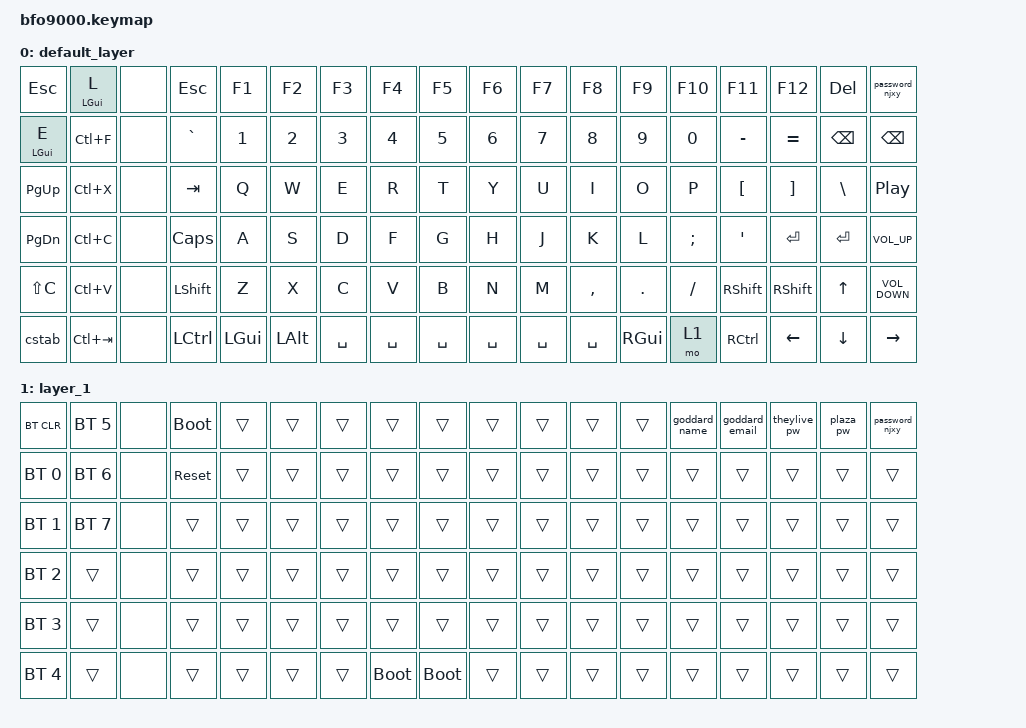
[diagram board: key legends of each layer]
/*
 * Copyright (c) 2020 The ZMK Contributors
 *
 * SPDX-License-Identifier: MIT
 */

#include <behaviors.dtsi>
#include <dt-bindings/zmk/keys.h>
#include <dt-bindings/zmk/bt.h>
#include <dt-bindings/zmk/consumer.h>

/ {

    macros {
        cstab: cstab {
            compatible = "zmk,behavior-macro";
            #binding-cells = <0>;
            wait-ms = <30>;
            tap-ms = <30>;
            bindings
                = <&macro_press &kp LCTRL>
                , <&macro_press &kp LSHIFT>
                , <&macro_tap &kp TAB>
                , <&macro_release &kp LSHIFT>
                , <&macro_release &kp LCTRL>
                ;
        };

        password_njxy: password_njxy {
            compatible = "zmk,behavior-macro";
            #binding-cells = <0>;
            wait-ms = <80>;
            tap-ms = <80>;
            bindings = <&macro_tap &str "NjXYv2Snr9pV-EX">;
        };

        goddard_name: goddard_name {
            compatible = "zmk,behavior-macro";
            #binding-cells = <0>;
            wait-ms = <80>;
            tap-ms = <80>;
            bindings = <&macro_tap &str "Goddard Technologies, Inc">;
        };

        goddard_email: goddard_email {
            compatible = "zmk,behavior-macro";
            #binding-cells = <0>;
            wait-ms = <80>;
            tap-ms = <80>;
            bindings = <&macro_tap &str "aredler@goddardtech.com">;
        };

        theylive_pw: theylive_pw {
            compatible = "zmk,behavior-macro";
            #binding-cells = <0>;
            wait-ms = <80>;
            tap-ms = <80>;
            bindings = <&macro_tap &str "TheyLive5817">;
        };

        plaza_pw: plaza_pw {
            compatible = "zmk,behavior-macro";
            #binding-cells = <0>;
            wait-ms = <80>;
            tap-ms = <80>;
            bindings = <&macro_tap &str "Plazataxco888">;
        };
    };

    keymap {
        compatible = "zmk,keymap";

        default_layer {
            bindings = <
                &kp ESC               &mt LGUI L      &none      &kp ESC              &kp F1      &kp F2      &kp F3      &kp F4      &kp F5      &kp F6      &kp F7      &kp F8      &kp F9      &kp F10     &kp F11       &kp F12       &kp DEL        &password_njxy

                &mt LGUI E            &kp LC(F)       &none      &kp GRAVE            &kp N1      &kp N2      &kp N3      &kp N4      &kp N5      &kp N6      &kp N7      &kp N8      &kp N9      &kp N0      &kp MINUS     &kp EQUAL     &kp BSPC       &kp BSPC

                &kp PG_UP             &kp LC(X)       &none      &kp TAB              &kp Q       &kp W       &kp E       &kp R       &kp T       &kp Y       &kp U       &kp I       &kp O       &kp P       &kp LBKT      &kp RBKT      &kp BSLH       &kp C_PLAY_PAUSE

                &kp PG_DN             &kp LC(C)       &none      &kp CAPS             &kp A       &kp S       &kp D       &kp F       &kp G       &kp H       &kp J       &kp K       &kp L       &kp SEMI    &kp APOS      &kp ENTER     &kp ENTER      &kp C_VOLUME_UP

                &kp LS(C)             &kp LC(V)       &none      &kp LSHIFT           &kp Z       &kp X       &kp C       &kp V       &kp B       &kp N       &kp M       &kp COMMA   &kp DOT     &kp SLASH   &kp RSHIFT    &kp RSHIFT    &kp UP         &kp C_VOLUME_DOWN

                &cstab                &kp LC(TAB)     &none      &kp LCTRL            &kp LGUI    &kp LALT    &kp SPACE   &kp SPACE   &kp SPACE   &kp SPACE   &kp SPACE   &kp SPACE   &kp RGUI    &mo 1       &kp RCTRL     &kp LEFT      &kp DOWN       &kp RIGHT
            >;
        };

        layer_1 {
            bindings = <
                &bt BT_CLR            &bt BT_SEL 5    &none      &bootloader          &trans      &trans      &trans      &trans      &trans      &trans      &trans      &trans      &trans      &goddard_name &goddard_email &theylive_pw  &plaza_pw      &password_njxy

                &bt BT_SEL 0          &bt BT_SEL 6    &none      &sys_reset           &trans      &trans      &trans      &trans      &trans      &trans      &trans      &trans      &trans      &trans        &trans         &trans        &trans         &trans

                &bt BT_SEL 1          &bt BT_SEL 7    &none      &trans               &trans      &trans      &trans      &trans      &trans      &trans      &trans      &trans      &trans      &trans        &trans         &trans        &trans         &trans

                &bt BT_SEL 2          &trans           &none      &trans               &trans      &trans      &trans      &trans      &trans      &trans      &trans      &trans      &trans      &trans        &trans         &trans        &trans         &trans

                &bt BT_SEL 3          &trans           &none      &trans               &trans      &trans      &trans      &trans      &trans      &trans      &trans      &trans      &trans      &trans        &trans         &trans        &trans         &trans

                &bt BT_SEL 4          &trans           &none      &trans               &trans      &trans      &trans      &bootloader &bootloader &trans      &trans      &trans      &trans      &trans        &trans         &trans        &trans         &trans
            >;
        };
    };
};
